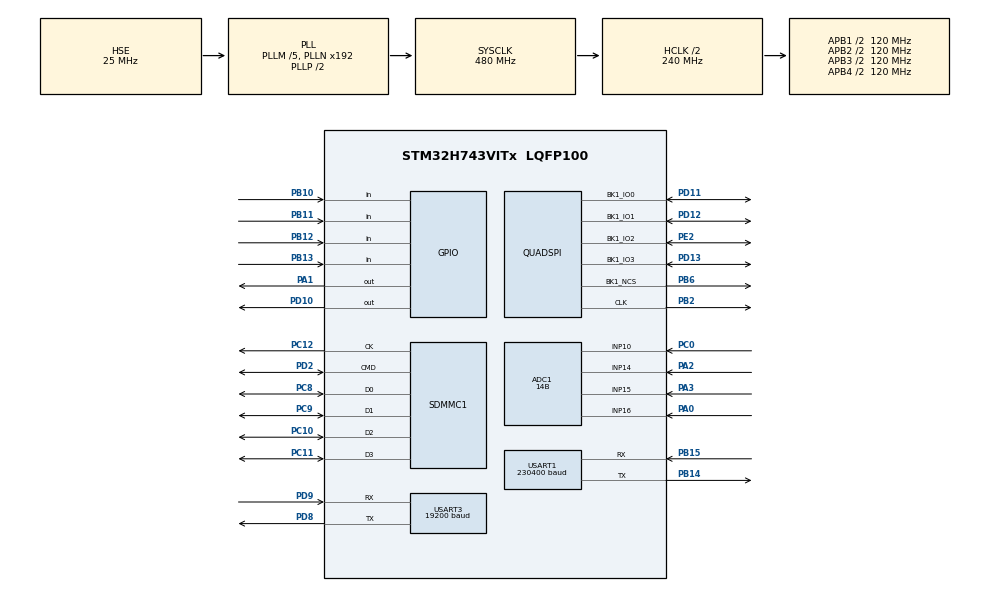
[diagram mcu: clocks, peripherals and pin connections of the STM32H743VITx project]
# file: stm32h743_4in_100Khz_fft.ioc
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ADC1.Channel-0\#ChannelRegularConversion=ADC_CHANNEL_15
ADC1.Channel-1\#ChannelRegularConversion=ADC_CHANNEL_16
ADC1.Channel-2\#ChannelRegularConversion=ADC_CHANNEL_10
ADC1.Channel-3\#ChannelRegularConversion=ADC_CHANNEL_14
ADC1.ClockPrescaler=ADC_CLOCK_ASYNC_DIV6
ADC1.ContinuousConvMode=DISABLE
ADC1.ConversionDataManagement=ADC_CONVERSIONDATA_DMA_CIRCULAR
ADC1.DiscontinuousConvMode=DISABLE
ADC1.EOCSelection=ADC_EOC_SINGLE_CONV
ADC1.ExternalTrigConv=ADC_EXTERNALTRIG_T6_TRGO
ADC1.NbrOfConversion=4
ADC1.NbrOfConversionFlag=1
ADC1.NbrOfDiscConversion=4
ADC1.OffsetNumber-0\#ChannelRegularConversion=ADC_OFFSET_NONE
ADC1.OffsetNumber-1\#ChannelRegularConversion=ADC_OFFSET_NONE
ADC1.OffsetNumber-2\#ChannelRegularConversion=ADC_OFFSET_NONE
ADC1.OffsetNumber-3\#ChannelRegularConversion=ADC_OFFSET_NONE
ADC1.OffsetSignedSaturation-0\#ChannelRegularConversion=DISABLE
ADC1.OffsetSignedSaturation-1\#ChannelRegularConversion=DISABLE
ADC1.OffsetSignedSaturation-2\#ChannelRegularConversion=DISABLE
ADC1.OffsetSignedSaturation-3\#ChannelRegularConversion=DISABLE
ADC1.Overrun=ADC_OVR_DATA_OVERWRITTEN
ADC1.Rank-0\#ChannelRegularConversion=1
ADC1.Rank-1\#ChannelRegularConversion=2
ADC1.Rank-2\#ChannelRegularConversion=3
ADC1.Rank-3\#ChannelRegularConversion=4
ADC1.Resolution=ADC_RESOLUTION_14B
ADC1.SamplingTime-0\#ChannelRegularConversion=ADC_SAMPLETIME_8CYCLES_5
ADC1.SamplingTime-1\#ChannelRegularConversion=ADC_SAMPLETIME_8CYCLES_5
ADC1.SamplingTime-2\#ChannelRegularConversion=ADC_SAMPLETIME_8CYCLES_5
ADC1.SamplingTime-3\#ChannelRegularConversion=ADC_SAMPLETIME_8CYCLES_5
ADC1.master=1
CORTEX_M7.AccessPermission-Cortex_Memory_Protection_Unit_Region0_Settings=MPU_REGION_FULL_ACCESS
CORTEX_M7.AccessPermission-Cortex_Memory_Protection_Unit_Region1_Settings=MPU_REGION_FULL_ACCESS
CORTEX_M7.AccessPermission-Cortex_Memory_Protection_Unit_Region2_Settings=MPU_REGION_FULL_ACCESS
CORTEX_M7.BaseAddress-Cortex_Memory_Protection_Unit_Region0_Settings=0x20000000
CORTEX_M7.BaseAddress-Cortex_Memory_Protection_Unit_Region1_Settings=0x08000000
CORTEX_M7.BaseAddress-Cortex_Memory_Protection_Unit_Region2_Settings=0x60000000
CORTEX_M7.CPU_DCache=Disabled
CORTEX_M7.CPU_ICache=Enabled
CORTEX_M7.Enable-Cortex_Memory_Protection_Unit_Region0_Settings=MPU_REGION_ENABLE
CORTEX_M7.Enable-Cortex_Memory_Protection_Unit_Region1_Settings=MPU_REGION_ENABLE
CORTEX_M7.Enable-Cortex_Memory_Protection_Unit_Region2_Settings=MPU_REGION_ENABLE
CORTEX_M7.Enable-Cortex_Memory_Protection_Unit_Region8_Settings=__NULL
CORTEX_M7.IsCacheable-Cortex_Memory_Protection_Unit_Region0_Settings=MPU_ACCESS_CACHEABLE
CORTEX_M7.IsCacheable-Cortex_Memory_Protection_Unit_Region1_Settings=MPU_ACCESS_CACHEABLE
CORTEX_M7.IsCacheable-Cortex_Memory_Protection_Unit_Region2_Settings=MPU_ACCESS_CACHEABLE
CORTEX_M7.IsShareable-Cortex_Memory_Protection_Unit_Region0_Settings=MPU_ACCESS_SHAREABLE
CORTEX_M7.IsShareable-Cortex_Memory_Protection_Unit_Region2_Settings=MPU_ACCESS_SHAREABLE
CORTEX_M7.MPU_Control=MPU_PRIVILEGED_DEFAULT
CORTEX_M7.Size-Cortex_Memory_Protection_Unit_Region0_Settings=MPU_REGION_SIZE_8KB
CORTEX_M7.Size-Cortex_Memory_Protection_Unit_Region1_Settings=MPU_REGION_SIZE_2MB
CORTEX_M7.Size-Cortex_Memory_Protection_Unit_Region2_Settings=MPU_REGION_SIZE_512MB
Dma.ADC1.0.Direction=DMA_PERIPH_TO_MEMORY
Dma.ADC1.0.EventEnable=DISABLE
Dma.ADC1.0.FIFOMode=DMA_FIFOMODE_DISABLE
Dma.ADC1.0.Instance=DMA1_Stream0
Dma.ADC1.0.MemDataAlignment=DMA_MDATAALIGN_WORD
Dma.ADC1.0.MemInc=DMA_MINC_ENABLE
Dma.ADC1.0.Mode=DMA_CIRCULAR
Dma.ADC1.0.PeriphDataAlignment=DMA_PDATAALIGN_WORD
Dma.ADC1.0.PeriphInc=DMA_PINC_DISABLE
Dma.ADC1.0.Polarity=HAL_DMAMUX_REQ_GEN_RISING
Dma.ADC1.0.Priority=DMA_PRIORITY_LOW
Dma.ADC1.0.RequestNumber=1
Dma.ADC1.0.SignalID=NONE
Dma.ADC1.0.SyncEnable=DISABLE
Dma.ADC1.0.SyncPolarity=HAL_DMAMUX_SYNC_NO_EVENT
Dma.ADC1.0.SyncRequestNumber=1
Dma.ADC1.0.SyncSignalID=NONE
Dma.Request0=ADC1
Mcu.Family=STM32H7
Mcu.Name=STM32H743VITx
Mcu.Package=LQFP100
NVIC.ADC_IRQn=true\:0\:0\:false\:false\:true\:true\:true\:true
NVIC.DMA1_Stream0_IRQn=true\:0\:0\:false\:false\:true\:false\:true\:true
NVIC.PriorityGroup=NVIC_PRIORITYGROUP_4
NVIC.TIM7_IRQn=true\:0\:0\:false\:false\:true\:true\:true\:true
NVIC.USART1_IRQn=true\:0\:0\:false\:false\:true\:true\:true\:true
NVIC.USART3_IRQn=true\:0\:0\:false\:false\:true\:true\:true\:true
PA0.Mode=IN16-Single-Ended
PA0.Signal=ADC1_INP16
PA1.Signal=GPIO_Output
PA2.Signal=ADCx_INP14
PA3.Signal=ADCx_INP15
PB10.Signal=GPIO_Input
PB11.Signal=GPIO_Input
PB12.Signal=GPIO_Input
PB13.Signal=GPIO_Input
PB14.Mode=Asynchronous
PB14.Signal=USART1_TX
PB15.Mode=Asynchronous
PB15.Signal=USART1_RX
PB2.Mode=Single Bank 1
PB2.Signal=QUADSPI_CLK
PB6.Mode=Single Bank 1
PB6.Signal=QUADSPI_BK1_NCS
PC0.Signal=ADCx_INP10
PC10.Mode=SD_4_bits_Wide_bus
PC10.Signal=SDMMC1_D2
PC11.Mode=SD_4_bits_Wide_bus
PC11.Signal=SDMMC1_D3
PC12.Mode=SD_4_bits_Wide_bus
PC12.Signal=SDMMC1_CK
PC14-OSC32_IN\ (OSC32_IN).Mode=LSE-External-Oscillator
PC14-OSC32_IN\ (OSC32_IN).Signal=RCC_OSC32_IN
PC15-OSC32_OUT\ (OSC32_OUT).Mode=LSE-External-Oscillator
PC15-OSC32_OUT\ (OSC32_OUT).Signal=RCC_OSC32_OUT
PC8.Mode=SD_4_bits_Wide_bus
PC8.Signal=SDMMC1_D0
PC9.Mode=SD_4_bits_Wide_bus
PC9.Signal=SDMMC1_D1
PD10.Signal=GPIO_Output
PD11.Mode=Single Bank 1
PD11.Signal=QUADSPI_BK1_IO0
PD12.Mode=Single Bank 1
PD12.Signal=QUADSPI_BK1_IO1
PD13.Mode=Single Bank 1
PD13.Signal=QUADSPI_BK1_IO3
PD2.Mode=SD_4_bits_Wide_bus
PD2.Signal=SDMMC1_CMD
PD8.Mode=Asynchronous
PD8.Signal=USART3_TX
PD9.Mode=Asynchronous
PD9.Signal=USART3_RX
PE2.Mode=Single Bank 1
PE2.Signal=QUADSPI_BK1_IO2
PH0-OSC_IN\ (PH0).Mode=HSE-External-Oscillator
PH0-OSC_IN\ (PH0).Signal=RCC_OSC_IN
PH1-OSC_OUT\ (PH1).Mode=HSE-External-Oscillator
PH1-OSC_OUT\ (PH1).Signal=RCC_OSC_OUT
ProjectManager.HeapSize=0x400
ProjectManager.StackSize=0x800
ProjectManager.TargetToolchain=STM32CubeIDE
QUADSPI.ChipSelectHighTime=QSPI_CS_HIGH_TIME_5_CYCLE
QUADSPI.ClockPrescaler=1
QUADSPI.FifoThreshold=4
QUADSPI.SampleShifting=QSPI_SAMPLE_SHIFTING_HALFCYCLE
RCC.ADCFreq_Value=75000000
RCC.APB1Freq_Value=120000000
RCC.APB2Freq_Value=120000000
RCC.APB3Freq_Value=120000000
RCC.APB4Freq_Value=120000000
RCC.CortexFreq_Value=480000000
RCC.D1PPRE=RCC_APB3_DIV2
RCC.D2PPRE1=RCC_APB1_DIV2
RCC.D2PPRE2=RCC_APB2_DIV2
RCC.D3PPRE=RCC_APB4_DIV2
RCC.DIVM1=5
RCC.DIVM2=2
RCC.DIVN1=192
RCC.DIVN2=12
RCC.DIVQ1=15
RCC.HCLKFreq_Value=240000000
RCC.HPRE=RCC_HCLK_DIV2
RCC.PLL1_VCI_Range=RCC_PLL1VCIRANGE_3
RCC.PLL2FRACN=0
RCC.PLL3FRACN=0
RCC.PLLFRACN=0
RCC.PLLSourceVirtual=RCC_PLLSOURCE_HSE
RCC.SYSCLKFreq_VALUE=480000000
RCC.SYSCLKSource=RCC_SYSCLKSOURCE_PLLCLK
RCC.USBCLockSelection=RCC_USBCLKSOURCE_HSI48
RCC.USBFreq_Value=48000000
SH.ADCx_INP10.0=ADC1_INP10,IN10-Single-Ended
SH.ADCx_INP14.0=ADC1_INP14,IN14-Single-Ended
SH.ADCx_INP15.0=ADC1_INP15,IN15-Single-Ended
TIM6.AutoReloadPreload=TIM_AUTORELOAD_PRELOAD_ENABLE
TIM6.Period=119
TIM6.Prescaler=9
TIM6.TIM_MasterOutputTrigger=TIM_TRGO_UPDATE
TIM7.AutoReloadPreload=TIM_AUTORELOAD_PRELOAD_ENABLE
TIM7.Period=10000
TIM7.Prescaler=2399
USART1.BaudRate=230400
USART1.VirtualMode-Asynchronous=VM_ASYNC
USART3.BaudRate=19200
USART3.VirtualMode-Asynchronous=VM_ASYNC
VP_FATFS_VS_SDIO.Mode=SDIO
VP_TIM6_VS_ClockSourceINT.Mode=Enable_Timer
VP_TIM7_VS_ClockSourceINT.Mode=Enable_Timer
board=custom

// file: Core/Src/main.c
/* USER CODE BEGIN Header */
/**
  ******************************************************************************
  * @file           : main.c
  * @brief          : Main program body
  ******************************************************************************
  * @attention
  *
  * Copyright (c) 2024 STMicroelectronics.
  * All rights reserved.
  *
  * This software is licensed under terms that can be found in the LICENSE file
  * in the root directory of this software component.
  * If no LICENSE file comes with this software, it is provided AS-IS.
  *
  ******************************************************************************
  */
/* USER CODE END Header */
#include "main.h"
#include "fatfs.h"

/* USER CODE BEGIN Includes */
#include "fft.h"
#include "modbus.h"
#include "w25qxx_qspi.h"
/* USER CODE END Includes */

ADC_HandleTypeDef hadc1;
DMA_HandleTypeDef hdma_adc1;

QSPI_HandleTypeDef hqspi;

SD_HandleTypeDef hsd1;

TIM_HandleTypeDef htim6;
TIM_HandleTypeDef htim7;

UART_HandleTypeDef huart1;
UART_HandleTypeDef huart3;

/* USER CODE BEGIN PV */
uint8_t ucAdcSuccess = 0;
uint8_t ucAdcCurrIndex = 0;
uint8_t ucAdcConvIndex = 0;
uint16_t usAdcReadCnt = 0;
#define DMA_BUFFER __attribute__((section(".dma_buffer")))
//#define DMA_DATA_LEN 16
#define DMA_DATA_LEN 8192
DMA_BUFFER uint32_t unAdcBuff[(DMA_DATA_LEN+100)];
//__IO uint32_t unAdcBuff[8];
int16_t usAdcReadBuff1[2][FFT_LENGTH];
int16_t usAdcReadBuff2[2][FFT_LENGTH];
int16_t usAdcReadBuff3[2][FFT_LENGTH];
int16_t usAdcReadBuff4[2][FFT_LENGTH];
uint16_t usAdcFuncFlag = 0;
uint32_t unAdcAddBuff[4]={0,0,0,0};
int32_t unAdcRmsBuff[4]={8192,8192,8192,8192};

extern void FFT_Proc(uint8_t ch,uint16_t *src);
extern volatile float fMagPowerBuff[4][(FFT_LENGTH/2)];
extern uint16_t usDetectBuff[4][5];

extern uint8_t ucUart3RxCnt;
extern uint8_t ucUart3RxBuff[];
extern uint8_t ucUart3TxSucc;
#define UART_SEND_MAX 10240
uint8_t ucUart1TxBuff[UART_SEND_MAX];
uint8_t ucUart1TxQueBuff[UART_SEND_MAX];
uint8_t ucUsbTxBuff[UART_SEND_MAX];
uint16_t usUsbSendCnt = 0;
uint16_t usUart1SendCnt = 0;
uint16_t usUart1SendTail = 0;
uint16_t usUart1SendHead = 0;
uint8_t ucUart1Sending = 0;

uint8_t ucDipSwVal = 0;
uint8_t ucSD_Mount = 0;
uint8_t ucSD_Open = 0;
uint8_t ucSD_FileNum = 0;
uint32_t unFileSaveCnt = 0;
char SD_Path[10];
int16_t ausAdcReadVal[DMA_DATA_LEN];

int16_t ssParaBuff[2048];

/* USER CODE END PV */

void SystemClock_Config(void);
static void MPU_Config(void);
static void MX_GPIO_Init(void);
static void MX_DMA_Init(void);
static void MX_USART1_UART_Init(void);
static void MX_USART3_UART_Init(void);
static void MX_TIM6_Init(void);
static void MX_ADC1_Init(void);
static void MX_TIM7_Init(void);
static void MX_QUADSPI_Init(void);
static void MX_SDMMC1_SD_Init(void);
/* USER CODE BEGIN PFP */
extern uint8_t GPIO_DIP_SW_Input(void);
/* USER CODE END PFP */

/* USER CODE BEGIN 0 */
extern void MODBUS_RX_PROCESS(void);

void Uart1SendQueue(uint8_t * src, uint16_t len)
{
	int i;
	for(i=0;i<len;i++)
	{
		if(usUart1SendCnt < UART_SEND_MAX)
		{
			ucUart1TxQueBuff[usUart1SendHead] = src[i];
			usUart1SendHead++;
			usUart1SendHead %= UART_SEND_MAX;
			usUart1SendCnt++;
		}
		else
		{
			ucUart1TxQueBuff[usUart1SendHead] = src[i];
			usUart1SendHead++;
			usUart1SendHead %= UART_SEND_MAX;
			usUart1SendTail = usUart1SendHead;
		}
	}
}

void Uart1PutQueue(uint8_t data)
{
	if(usUart1SendCnt < UART_SEND_MAX)
	{
		ucUart1TxQueBuff[usUart1SendHead] = data;
		usUart1SendHead++;
		usUart1SendHead %= UART_SEND_MAX;
		usUart1SendCnt++;
	}
	else
	{
		ucUart1TxQueBuff[usUart1SendHead] = data;
		usUart1SendHead++;
		usUart1SendHead %= UART_SEND_MAX;
		usUart1SendTail = usUart1SendHead;
	}
}

int Uart1GetQueue()
{
	uint8_t ch;
	if(usUart1SendCnt > 0)
	{
		ch = ucUart1TxQueBuff[usUart1SendTail];
		usUart1SendTail++;
		usUart1SendTail %= UART_SEND_MAX;
		usUart1SendCnt--;
		return (int)ch;
	}
	else
	{
		usUart1SendTail = 0;
		usUart1SendHead = 0;
		return -1;
	}
}

int Uart1ReadQueue(uint8_t *dst)
{
	uint8_t ch;
	int i, res;
	res = 0;
	while(usUart1SendCnt > 0)
	{
		dst[res++] = ucUart1TxQueBuff[usUart1SendTail];
		usUart1SendTail++;
		usUart1SendTail %= UART_SEND_MAX;
		usUart1SendCnt--;
	}
	usUart1SendTail = 0;
	usUart1SendHead = 0;
	return res;
}

/* USER CODE END 0 */

int main(void)
{
  /* USER CODE BEGIN 1 */
	int nPowerVal = 0;
	int nSendCnt = 0;
	int nsend_len=0;
	int i,j;
	uint16_t us_res;
	int ret;
	FIL MyFile;
	uint32_t byteswritten;
  /* USER CODE END 1 */

  /* MPU Configuration--------------------------------------------------------*/
  MPU_Config();
/* Enable the CPU Cache */

  /* Enable I-Cache---------------------------------------------------------*/
  SCB_EnableICache();

  /* MCU Configuration--------------------------------------------------------*/

  /* Reset of all peripherals, Initializes the Flash interface and the Systick. */
  HAL_Init();

  /* Configure the system clock */
  SystemClock_Config();

  /* Initialize all configured peripherals */
  MX_GPIO_Init();
  MX_DMA_Init();
  MX_USART1_UART_Init();
  MX_USART3_UART_Init();
  MX_TIM6_Init();
  MX_ADC1_Init();
  MX_TIM7_Init();
  MX_QUADSPI_Init();
  MX_SDMMC1_SD_Init();
  MX_FATFS_Init();
  /* USER CODE BEGIN 2 */
  BSP_SD_Init();
//  HAL_TIM_Base_Start(&htim6);
  // calibrate ADC for better accuracy and start it w/ interrupt
    if(HAL_ADCEx_Calibration_Start(&hadc1, ADC_CALIB_OFFSET, ADC_SINGLE_ENDED) != HAL_OK)
                  Error_Handler();

//    if(HAL_ADC_Start_IT(&hadc1) != HAL_OK)
//                  Error_Handler();
    HAL_ADC_Start_DMA(&hadc1, (uint32_t*)unAdcBuff, DMA_DATA_LEN);
//    HAL_ADC_Start_DMA(&hadc1, (uint32_t*)unAdcBuff, 16);
    // start pwm generation
    if(HAL_TIM_Base_Start(&htim6) != HAL_OK)   Error_Handler();

    HAL_TIM_Base_Start(&htim7);
/*
    w25qxx_Init();
    w25qxx_GetID();
    W25qxx_Read((uint8_t*)ssParaBuff,0,100);
   	if((ssParaBuff[0]!=0x55AA) || (ssParaBuff[49]!=0x55AA))
   	{
   		ucUart1TxBuff[0] = 'C';
   		ucUart1TxBuff[1] = 'W';
   		us_res = (ssParaBuff[0]&0xF000)>>12;
   		ucUart1TxBuff[2] = (us_res>9)?us_res-10+'A':us_res+'0';
   		us_res = (ssParaBuff[0]&0x0F00)>>8;
   		ucUart1TxBuff[3] = (us_res>9)?us_res-10+'A':us_res+'0';
   		us_res = (ssParaBuff[0]&0x00F0)>>4;
   		ucUart1TxBuff[4] = (us_res>9)?us_res-10+'A':us_res+'0';
   		us_res = (ssParaBuff[0]&0x000F)>>0;
   		ucUart1TxBuff[5] = (us_res>9)?us_res-10+'A':us_res+'0';
   		us_res = (ssParaBuff[49]&0xF000)>>12;
   		ucUart1TxBuff[6] = (us_res>9)?us_res-10+'A':us_res+'0';
   		us_res = (ssParaBuff[49]&0x0F00)>>8;
   		ucUart1TxBuff[7] = (us_res>9)?us_res-10+'A':us_res+'0';
   		us_res = (ssParaBuff[49]&0x00F0)>>4;
   		ucUart1TxBuff[8] = (us_res>9)?us_res-10+'A':us_res+'0';
   		us_res = (ssParaBuff[49]&0x000F)>>0;
   		ucUart1TxBuff[9] = (us_res>9)?us_res-10+'A':us_res+'0';

   		HAL_UART_Transmit_IT(&huart1, &ucUart1TxBuff[0], 10);
   		W25qxx_EraseSector(0);
//		W25qxx_EraseChip(); // approx 13 second to execute
		ssParaBuff[0] = 0x55AA;
		ssParaBuff[1] = 10000;
		ssParaBuff[2] = 5000;
		ssParaBuff[3] = 3000;
		ssParaBuff[4] = 2000;
		ssParaBuff[5] = 10000;
		ssParaBuff[6] = 5000;
		ssParaBuff[7] = 3000;
		ssParaBuff[8] = 2000;
		ssParaBuff[9] = 10000;
		ssParaBuff[10] = 5000;
		ssParaBuff[11] = 3000;
		ssParaBuff[12] = 2000;
		ssParaBuff[13] = 10000;
		ssParaBuff[14] = 5000;
		ssParaBuff[15] = 3000;
		ssParaBuff[16] = 2000;
		ssParaBuff[49] = 0x55AA;
		W25qxx_Write((uint8_t*)ssParaBuff, 0, 100);
   	}
*/

    /* Enable D-Cache---------------------------------------------------------*/
 //   SCB_EnableICache();
    SCB_EnableDCache();

  /* USER CODE END 2 */

  /* Infinite loop */
  /* USER CODE BEGIN WHILE */
  ucUart3RxCnt = 0;
  RS485_RD_MODE;
  HAL_UART_Receive_IT(&huart3, &ucUart3RxBuff[ucUart3RxCnt], 1);
  FFT_Buff_Init();
  HAL_GPIO_WritePin(GPIOA,GPIO_PIN_1,GPIO_PIN_SET);
  while (1)
  {
	  ucDipSwVal = GPIO_DIP_SW_Input();

	  FFT_Timer_Proc();
//	  if(ucAdcSuccess)
	  if(usAdcFuncFlag)
	  {
		  if(((ucDipSwVal & 0x08) != 0) || (ucSD_Mount == 0))  ret = f_mount(&SDFatFS, "0:", 0);

		  if(ret == 0)ucSD_Mount = 1;

		  if(((ucDipSwVal & 0x08) == 0) || (ucSD_Mount != 0))
		  {
			  if(ucSD_Open) f_close(&MyFile);
			  ret = f_mount(0, "0:", 0);
			  ucSD_Open = 0;
			  HAL_GPIO_WritePin(GPIOA,GPIO_PIN_1,GPIO_PIN_SET);
		  }

		  if(((ucDipSwVal & 0x08) == 0) || (ucSD_Mount == 0))
		  {
	//		  ucAdcSuccess = 0;
	 //		  SCB_EnableDCache();
			  if((usAdcFuncFlag & 0x0003) != 0)
			  {
				  usAdcFuncFlag &= 0x00FC;
				  FFT_Proc(0,&usAdcReadBuff1[ucAdcConvIndex][0]);
			  }
			  else if((usAdcFuncFlag & 0x000C) != 0)
			  {
				  usAdcFuncFlag &= 0x00F3;
	//			  FFT_Proc(1,&usAdcReadBuff2[ucAdcConvIndex][0]);
			  }
			  else if((usAdcFuncFlag & 0x0030) != 0)
			  {
				  usAdcFuncFlag &= 0x00CF;
	//			  FFT_Proc(2,&usAdcReadBuff3[ucAdcConvIndex][0]);
			  }
			  else if((usAdcFuncFlag & 0x00C0) != 0)
			  {
				  usAdcFuncFlag &= 0x003F;
	//				FFT_Proc(3,&usAdcReadBuff4[ucAdcConvIndex][0]);
			  }
	//		  SCB_DisableDCache();
		  }
		  else
		  {
			  usAdcFuncFlag = 0;
			  ucAdcSuccess = 0;
			  if(ucSD_Open == 0)
			  {
				  ucSD_FileNum = ucDipSwVal & 0x07;
				  sprintf(SD_Path, "F%d.bin",ucSD_FileNum);
				  ret = f_open(&MyFile,SD_Path,FA_CREATE_ALWAYS | FA_WRITE);
				  if(ret == 0)
				  {
					  ucSD_Open = 1;
					  HAL_GPIO_WritePin(GPIOA,GPIO_PIN_1,GPIO_PIN_RESET);
				  }
				  unFileSaveCnt = 0;
			  }
			  else
			  {
				  if(unFileSaveCnt < 10000)
				  {
					  ret = f_write(&MyFile,(uint8_t *)&ausAdcReadVal[0],DMA_DATA_LEN*2,(void*)&byteswritten);
					  unFileSaveCnt++;
					  HAL_GPIO_WritePin(GPIOA,GPIO_PIN_1,GPIO_PIN_RESET);
					  if(unFileSaveCnt == 10000)
					  {
						  f_close(&MyFile);
						  HAL_GPIO_WritePin(GPIOA,GPIO_PIN_1,GPIO_PIN_SET);
					  }
				  }
			  }
		  }
#if 0
		  nSendCnt = 0;
		  ucUsbTxBuff[nSendCnt++] = 0x55;
		  ucUsbTxBuff[nSendCnt++] = ':';

//		  for(i=0;i<usMagPowerPeakDetectCnt[0];i++)
		  for(i=0;i<1024;i++)
		  {
//			  nPowerVal = (int) fMagPowerBuff[0][i]/100;
			  nPowerVal = usAdcReadBuff1[ucAdcConvIndex][i];
//			  nPowerVal = (int)usMagPowerPeakDetectBuff[0][i]*10;
			  nPowerVal %= 10000;
			  ucUsbTxBuff[nSendCnt++] = (nPowerVal/1000) + '0';
			  nPowerVal %= 1000;
			  ucUsbTxBuff[nSendCnt++] = (nPowerVal/100) + '0';
			  nPowerVal %= 100;
			  ucUsbTxBuff[nSendCnt++] = (nPowerVal/10) + '0';
			  ucUsbTxBuff[nSendCnt++] = (nPowerVal%10) + '0';
			  ucUsbTxBuff[nSendCnt++] = ',';

//			  ucUsbTxBuff[nSendCnt++] = (nPowerVal>>16) & 0xFF;
//			  ucUsbTxBuff[nSendCnt++] = (nPowerVal>>8) & 0xFF;
//			  ucUsbTxBuff[nSendCnt++] = (nPowerVal>>0) & 0xFF;
		  }
		  ucUsbTxBuff[nSendCnt++] = 0x0d;
		  ucUsbTxBuff[nSendCnt++] = 0x0a;
//		  ucUsbTxBuff[nSendCnt++] = 0x00;
		  Uart1SendQueue(&ucUsbTxBuff[0],nSendCnt);
#endif
	  }
	  MODBUS_RX_PROCESS();

		if ((usUart1SendCnt>0) && (ucUart1Sending==0))
	  {
		  nsend_len = Uart1ReadQueue(&ucUart1TxBuff[0]);
		  HAL_UART_Transmit_IT(&huart1, &ucUart1TxBuff[0], nsend_len);
		  ucUart1Sending = 1;
	  }
    /* USER CODE END WHILE */

  }
}

void SystemClock_Config(void)
{
  RCC_OscInitTypeDef RCC_OscInitStruct = {0};
  RCC_ClkInitTypeDef RCC_ClkInitStruct = {0};

  /** Supply configuration update enable
  */
  HAL_PWREx_ConfigSupply(PWR_LDO_SUPPLY);

  /** Configure the main internal regulator output voltage
  */
  __HAL_PWR_VOLTAGESCALING_CONFIG(PWR_REGULATOR_VOLTAGE_SCALE1);

  while(!__HAL_PWR_GET_FLAG(PWR_FLAG_VOSRDY)) {}

  __HAL_RCC_SYSCFG_CLK_ENABLE();
  __HAL_PWR_VOLTAGESCALING_CONFIG(PWR_REGULATOR_VOLTAGE_SCALE0);

  while(!__HAL_PWR_GET_FLAG(PWR_FLAG_VOSRDY)) {}

  /** Initializes the RCC Oscillators according to the specified parameters
  * in the RCC_OscInitTypeDef structure.
  */
  RCC_OscInitStruct.OscillatorType = RCC_OSCILLATORTYPE_HSE;
  RCC_OscInitStruct.HSEState = RCC_HSE_ON;
  RCC_OscInitStruct.PLL.PLLState = RCC_PLL_ON;
  RCC_OscInitStruct.PLL.PLLSource = RCC_PLLSOURCE_HSE;
  RCC_OscInitStruct.PLL.PLLM = 5;
  RCC_OscInitStruct.PLL.PLLN = 192;
  RCC_OscInitStruct.PLL.PLLP = 2;
  RCC_OscInitStruct.PLL.PLLQ = 15;
  RCC_OscInitStruct.PLL.PLLR = 2;
  RCC_OscInitStruct.PLL.PLLRGE = RCC_PLL1VCIRANGE_3;
  RCC_OscInitStruct.PLL.PLLVCOSEL = RCC_PLL1VCOWIDE;
  RCC_OscInitStruct.PLL.PLLFRACN = 0;
  if (HAL_RCC_OscConfig(&RCC_OscInitStruct) != HAL_OK)
  {
    Error_Handler();
  }

  /** Initializes the CPU, AHB and APB buses clocks
  */
  RCC_ClkInitStruct.ClockType = RCC_CLOCKTYPE_HCLK|RCC_CLOCKTYPE_SYSCLK
                              |RCC_CLOCKTYPE_PCLK1|RCC_CLOCKTYPE_PCLK2
                              |RCC_CLOCKTYPE_D3PCLK1|RCC_CLOCKTYPE_D1PCLK1;
  RCC_ClkInitStruct.SYSCLKSource = RCC_SYSCLKSOURCE_PLLCLK;
  RCC_ClkInitStruct.SYSCLKDivider = RCC_SYSCLK_DIV1;
  RCC_ClkInitStruct.AHBCLKDivider = RCC_HCLK_DIV2;
  RCC_ClkInitStruct.APB3CLKDivider = RCC_APB3_DIV2;
  RCC_ClkInitStruct.APB1CLKDivider = RCC_APB1_DIV2;
  RCC_ClkInitStruct.APB2CLKDivider = RCC_APB2_DIV2;
  RCC_ClkInitStruct.APB4CLKDivider = RCC_APB4_DIV2;

  if (HAL_RCC_ClockConfig(&RCC_ClkInitStruct, FLASH_LATENCY_4) != HAL_OK)
  {
    Error_Handler();
  }
}

static void MX_ADC1_Init(void)
{

  ADC_MultiModeTypeDef multimode = {0};
  ADC_ChannelConfTypeDef sConfig = {0};

  /** Common config
  */
  hadc1.Instance = ADC1;
  hadc1.Init.ClockPrescaler = ADC_CLOCK_ASYNC_DIV6;
  hadc1.Init.Resolution = ADC_RESOLUTION_14B;
  hadc1.Init.ScanConvMode = ADC_SCAN_ENABLE;
  hadc1.Init.EOCSelection = ADC_EOC_SINGLE_CONV;
  hadc1.Init.LowPowerAutoWait = DISABLE;
  hadc1.Init.ContinuousConvMode = DISABLE;
  hadc1.Init.NbrOfConversion = 4;
  hadc1.Init.DiscontinuousConvMode = DISABLE;
  hadc1.Init.NbrOfDiscConversion = 4;
  hadc1.Init.ExternalTrigConv = ADC_EXTERNALTRIG_T6_TRGO;
  hadc1.Init.ExternalTrigConvEdge = ADC_EXTERNALTRIGCONVEDGE_RISING;
  hadc1.Init.ConversionDataManagement = ADC_CONVERSIONDATA_DMA_CIRCULAR;
  hadc1.Init.Overrun = ADC_OVR_DATA_OVERWRITTEN;
  hadc1.Init.LeftBitShift = ADC_LEFTBITSHIFT_NONE;
  hadc1.Init.OversamplingMode = DISABLE;
  if (HAL_ADC_Init(&hadc1) != HAL_OK)
  {
    Error_Handler();
  }

  /** Configure the ADC multi-mode
  */
  multimode.Mode = ADC_MODE_INDEPENDENT;
  if (HAL_ADCEx_MultiModeConfigChannel(&hadc1, &multimode) != HAL_OK)
  {
    Error_Handler();
  }

  /** Configure Regular Channel
  */
  sConfig.Channel = ADC_CHANNEL_15;
  sConfig.Rank = ADC_REGULAR_RANK_1;
  sConfig.SamplingTime = ADC_SAMPLETIME_8CYCLES_5;
  sConfig.SingleDiff = ADC_SINGLE_ENDED;
  sConfig.OffsetNumber = ADC_OFFSET_NONE;
  sConfig.Offset = 0;
  sConfig.OffsetSignedSaturation = DISABLE;
  if (HAL_ADC_ConfigChannel(&hadc1, &sConfig) != HAL_OK)
  {
    Error_Handler();
  }

  /** Configure Regular Channel
  */
  sConfig.Channel = ADC_CHANNEL_16;
  sConfig.Rank = ADC_REGULAR_RANK_2;
  if (HAL_ADC_ConfigChannel(&hadc1, &sConfig) != HAL_OK)
  {
    Error_Handler();
  }

  /** Configure Regular Channel
  */
  sConfig.Channel = ADC_CHANNEL_10;
  sConfig.Rank = ADC_REGULAR_RANK_3;
  if (HAL_ADC_ConfigChannel(&hadc1, &sConfig) != HAL_OK)
  {
    Error_Handler();
  }

  /** Configure Regular Channel
  */
  sConfig.Channel = ADC_CHANNEL_14;
  sConfig.Rank = ADC_REGULAR_RANK_4;
  if (HAL_ADC_ConfigChannel(&hadc1, &sConfig) != HAL_OK)
  {
    Error_Handler();
  }

}

static void MX_QUADSPI_Init(void)
{

  /* QUADSPI parameter configuration*/
  hqspi.Instance = QUADSPI;
  hqspi.Init.ClockPrescaler = 1;
  hqspi.Init.FifoThreshold = 4;
  hqspi.Init.SampleShifting = QSPI_SAMPLE_SHIFTING_HALFCYCLE;
  hqspi.Init.FlashSize = 1;
  hqspi.Init.ChipSelectHighTime = QSPI_CS_HIGH_TIME_5_CYCLE;
  hqspi.Init.ClockMode = QSPI_CLOCK_MODE_0;
  hqspi.Init.FlashID = QSPI_FLASH_ID_1;
  hqspi.Init.DualFlash = QSPI_DUALFLASH_DISABLE;
  if (HAL_QSPI_Init(&hqspi) != HAL_OK)
  {
    Error_Handler();
  }

}

static void MX_SDMMC1_SD_Init(void)
{

  hsd1.Instance = SDMMC1;
  hsd1.Init.ClockEdge = SDMMC_CLOCK_EDGE_RISING;
  hsd1.Init.ClockPowerSave = SDMMC_CLOCK_POWER_SAVE_DISABLE;
  hsd1.Init.BusWide = SDMMC_BUS_WIDE_4B;
  hsd1.Init.HardwareFlowControl = SDMMC_HARDWARE_FLOW_CONTROL_DISABLE;
  hsd1.Init.ClockDiv = 0;

}

static void MX_TIM6_Init(void)
{

  TIM_MasterConfigTypeDef sMasterConfig = {0};

  htim6.Instance = TIM6;
  htim6.Init.Prescaler = 9;
  htim6.Init.CounterMode = TIM_COUNTERMODE_UP;
  htim6.Init.Period = 119;
  htim6.Init.AutoReloadPreload = TIM_AUTORELOAD_PRELOAD_ENABLE;
  if (HAL_TIM_Base_Init(&htim6) != HAL_OK)
  {
    Error_Handler();
  }
  sMasterConfig.MasterOutputTrigger = TIM_TRGO_UPDATE;
  sMasterConfig.MasterSlaveMode = TIM_MASTERSLAVEMODE_DISABLE;
  if (HAL_TIMEx_MasterConfigSynchronization(&htim6, &sMasterConfig) != HAL_OK)
  {
    Error_Handler();
  }

}

static void MX_TIM7_Init(void)
{

  TIM_MasterConfigTypeDef sMasterConfig = {0};

  htim7.Instance = TIM7;
  htim7.Init.Prescaler = 2399;
  htim7.Init.CounterMode = TIM_COUNTERMODE_UP;
  htim7.Init.Period = 10000;
  htim7.Init.AutoReloadPreload = TIM_AUTORELOAD_PRELOAD_ENABLE;
  if (HAL_TIM_Base_Init(&htim7) != HAL_OK)
  {
    Error_Handler();
  }
  sMasterConfig.MasterOutputTrigger = TIM_TRGO_RESET;
  sMasterConfig.MasterSlaveMode = TIM_MASTERSLAVEMODE_DISABLE;
  if (HAL_TIMEx_MasterConfigSynchronization(&htim7, &sMasterConfig) != HAL_OK)
  {
    Error_Handler();
  }

}

static void MX_USART1_UART_Init(void)
{

  huart1.Instance = USART1;
  huart1.Init.BaudRate = 230400;
  huart1.Init.WordLength = UART_WORDLENGTH_8B;
  huart1.Init.StopBits = UART_STOPBITS_1;
  huart1.Init.Parity = UART_PARITY_NONE;
  huart1.Init.Mode = UART_MODE_TX_RX;
  huart1.Init.HwFlowCtl = UART_HWCONTROL_NONE;
  huart1.Init.OverSampling = UART_OVERSAMPLING_16;
  huart1.Init.OneBitSampling = UART_ONE_BIT_SAMPLE_DISABLE;
  huart1.Init.ClockPrescaler = UART_PRESCALER_DIV1;
  huart1.AdvancedInit.AdvFeatureInit = UART_ADVFEATURE_NO_INIT;
  if (HAL_UART_Init(&huart1) != HAL_OK)
  {
    Error_Handler();
  }
  if (HAL_UARTEx_SetTxFifoThreshold(&huart1, UART_TXFIFO_THRESHOLD_1_8) != HAL_OK)
  {
    Error_Handler();
  }
  if (HAL_UARTEx_SetRxFifoThreshold(&huart1, UART_RXFIFO_THRESHOLD_1_8) != HAL_OK)
  {
    Error_Handler();
  }
  if (HAL_UARTEx_DisableFifoMode(&huart1) != HAL_OK)
  {
    Error_Handler();
  }

}

static void MX_USART3_UART_Init(void)
{

  huart3.Instance = USART3;
  huart3.Init.BaudRate = 19200;
  huart3.Init.WordLength = UART_WORDLENGTH_8B;
  huart3.Init.StopBits = UART_STOPBITS_1;
  huart3.Init.Parity = UART_PARITY_NONE;
  huart3.Init.Mode = UART_MODE_TX_RX;
  huart3.Init.HwFlowCtl = UART_HWCONTROL_NONE;
  huart3.Init.OverSampling = UART_OVERSAMPLING_16;
  huart3.Init.OneBitSampling = UART_ONE_BIT_SAMPLE_DISABLE;
  huart3.Init.ClockPrescaler = UART_PRESCALER_DIV1;
  huart3.AdvancedInit.AdvFeatureInit = UART_ADVFEATURE_NO_INIT;
  if (HAL_UART_Init(&huart3) != HAL_OK)
  {
    Error_Handler();
  }
  if (HAL_UARTEx_SetTxFifoThreshold(&huart3, UART_TXFIFO_THRESHOLD_1_8) != HAL_OK)
  {
    Error_Handler();
  }
  if (HAL_UARTEx_SetRxFifoThreshold(&huart3, UART_RXFIFO_THRESHOLD_1_8) != HAL_OK)
  {
    Error_Handler();
  }
  if (HAL_UARTEx_DisableFifoMode(&huart3) != HAL_OK)
  {
    Error_Handler();
  }

}

static void MX_DMA_Init(void)
{

  /* DMA controller clock enable */
  __HAL_RCC_DMA1_CLK_ENABLE();

  /* DMA interrupt init */
  /* DMA1_Stream0_IRQn interrupt configuration */
  HAL_NVIC_SetPriority(DMA1_Stream0_IRQn, 0, 0);
  HAL_NVIC_EnableIRQ(DMA1_Stream0_IRQn);

}

static void MX_GPIO_Init(void)
{
  GPIO_InitTypeDef GPIO_InitStruct = {0};

  /* GPIO Ports Clock Enable */
  __HAL_RCC_GPIOE_CLK_ENABLE();
  __HAL_RCC_GPIOC_CLK_ENABLE();
  __HAL_RCC_GPIOH_CLK_ENABLE();
  __HAL_RCC_GPIOA_CLK_ENABLE();
  __HAL_RCC_GPIOB_CLK_ENABLE();
  __HAL_RCC_GPIOD_CLK_ENABLE();

  /*Configure GPIO pin Output Level */
  HAL_GPIO_WritePin(GPIOA, GPIO_PIN_1, GPIO_PIN_RESET);

  /*Configure GPIO pin Output Level */
  HAL_GPIO_WritePin(GPIOD, GPIO_PIN_10, GPIO_PIN_RESET);

  /*Configure GPIO pin : PA1 */
  GPIO_InitStruct.Pin = GPIO_PIN_1;
  GPIO_InitStruct.Mode = GPIO_MODE_OUTPUT_PP;
  GPIO_InitStruct.Pull = GPIO_NOPULL;
  GPIO_InitStruct.Speed = GPIO_SPEED_FREQ_LOW;
  HAL_GPIO_Init(GPIOA, &GPIO_InitStruct);

  /*Configure GPIO pins : PB10 PB11 PB12 PB13 */
  GPIO_InitStruct.Pin = GPIO_PIN_10|GPIO_PIN_11|GPIO_PIN_12|GPIO_PIN_13;
  GPIO_InitStruct.Mode = GPIO_MODE_INPUT;
  GPIO_InitStruct.Pull = GPIO_NOPULL;
  HAL_GPIO_Init(GPIOB, &GPIO_InitStruct);

  /*Configure GPIO pin : PD10 */
  GPIO_InitStruct.Pin = GPIO_PIN_10;
  GPIO_InitStruct.Mode = GPIO_MODE_OUTPUT_PP;
  GPIO_InitStruct.Pull = GPIO_NOPULL;
  GPIO_InitStruct.Speed = GPIO_SPEED_FREQ_LOW;
  HAL_GPIO_Init(GPIOD, &GPIO_InitStruct);

}

/* USER CODE BEGIN 4 */
int32_t nAdcReadIndex = 0;
void HAL_ADC_ConvCpltCallback(ADC_HandleTypeDef* hadc)
{
	int i,j;
//	if(hadc == ADC1)
	if(ucAdcSuccess == 0)
//	if((ucAdcSuccess == 0) && (ucUart1Sending == 0))
	{
//		unAdcBuff[0] = HAL_ADC_GetValue(&hadc1);
#if 1
		SCB_InvalidateDCache_by_Addr((uint32_t *) &unAdcBuff[0], DMA_DATA_LEN);
		usAdcReadCnt=0;
		j=0;
		if(ucSD_Open)
		{
			for(i=0;i<(DMA_DATA_LEN);i++) ausAdcReadVal[i] = (int16_t)unAdcBuff[i];
		}
		else
		{
			for(i=0;i<(DMA_DATA_LEN/4);i++)
			{
				usAdcReadBuff1[ucAdcCurrIndex][usAdcReadCnt] = (int16_t)((int)unAdcBuff[j++]);
				usAdcReadBuff2[ucAdcCurrIndex][usAdcReadCnt] = (int16_t)((int)unAdcBuff[j++]);
				usAdcReadBuff3[ucAdcCurrIndex][usAdcReadCnt] = (int16_t)((int)unAdcBuff[j++]);
				usAdcReadBuff4[ucAdcCurrIndex][usAdcReadCnt] = (int16_t)((int)unAdcBuff[j++]);
				usAdcReadCnt++;
			}
		}
		ucAdcSuccess = 1;
		usAdcFuncFlag = 0x00FF;
		ucAdcConvIndex = ucAdcCurrIndex;
		if(ucAdcCurrIndex==0)ucAdcCurrIndex=1;
		else ucAdcCurrIndex = 0;
#else
		if(usAdcReadCnt < FFT_LENGTH)
		{
			SCB_InvalidateDCache_by_Addr((uint32_t *) &unAdcBuff[0], 16);
			if(nAdcReadIndex == 0)
			{
				usAdcReadBuff1[ucAdcCurrIndex][usAdcReadCnt] = (int16_t)((int)unAdcBuff[0]);
				usAdcReadBuff2[ucAdcCurrIndex][usAdcReadCnt] = (int16_t)((int)unAdcBuff[1]);
				usAdcReadBuff3[ucAdcCurrIndex][usAdcReadCnt] = (int16_t)((int)unAdcBuff[2]);
				usAdcReadBuff4[ucAdcCurrIndex][usAdcReadCnt] = (int16_t)((int)unAdcBuff[3]);
				usAdcReadCnt++;
				usAdcReadBuff1[ucAdcCurrIndex][usAdcReadCnt] = (int16_t)((int)unAdcBuff[4]);
				usAdcReadBuff2[ucAdcCurrIndex][usAdcReadCnt] = (int16_t)((int)unAdcBuff[5]);
				usAdcReadBuff3[ucAdcCurrIndex][usAdcReadCnt] = (int16_t)((int)unAdcBuff[6]);
				usAdcReadBuff4[ucAdcCurrIndex][usAdcReadCnt] = (int16_t)((int)unAdcBuff[7]);
				usAdcReadCnt++;
				usAdcReadBuff1[ucAdcCurrIndex][usAdcReadCnt] = (int16_t)((int)unAdcBuff[8]);
				usAdcReadBuff2[ucAdcCurrIndex][usAdcReadCnt] = (int16_t)((int)unAdcBuff[9]);
				usAdcReadBuff3[ucAdcCurrIndex][usAdcReadCnt] = (int16_t)((int)unAdcBuff[10]);
				usAdcReadBuff4[ucAdcCurrIndex][usAdcReadCnt] = (int16_t)((int)unAdcBuff[11]);
				usAdcReadCnt++;
				usAdcReadBuff1[ucAdcCurrIndex][usAdcReadCnt] = (int16_t)((int)unAdcBuff[12]);
				usAdcReadBuff2[ucAdcCurrIndex][usAdcReadCnt] = (int16_t)((int)unAdcBuff[13]);
				usAdcReadBuff3[ucAdcCurrIndex][usAdcReadCnt] = (int16_t)((int)unAdcBuff[14]);
				usAdcReadBuff4[ucAdcCurrIndex][usAdcReadCnt] = (int16_t)((int)unAdcBuff[15]);
				usAdcReadCnt++;
			}
			else
			{
				usAdcReadBuff1[ucAdcCurrIndex][usAdcReadCnt] += (int16_t)((int)unAdcBuff[0]);
				usAdcReadBuff2[ucAdcCurrIndex][usAdcReadCnt] += (int16_t)((int)unAdcBuff[1]);
				usAdcReadBuff3[ucAdcCurrIndex][usAdcReadCnt] += (int16_t)((int)unAdcBuff[2]);
				usAdcReadBuff4[ucAdcCurrIndex][usAdcReadCnt] += (int16_t)((int)unAdcBuff[3]);
				usAdcReadCnt++;
				usAdcReadBuff1[ucAdcCurrIndex][usAdcReadCnt] += (int16_t)((int)unAdcBuff[4]);
				usAdcReadBuff2[ucAdcCurrIndex][usAdcReadCnt] += (int16_t)((int)unAdcBuff[5]);
				usAdcReadBuff3[ucAdcCurrIndex][usAdcReadCnt] += (int16_t)((int)unAdcBuff[6]);
				usAdcReadBuff4[ucAdcCurrIndex][usAdcReadCnt] += (int16_t)((int)unAdcBuff[7]);
				usAdcReadCnt++;
				usAdcReadBuff1[ucAdcCurrIndex][usAdcReadCnt] += (int16_t)((int)unAdcBuff[8]);
				usAdcReadBuff2[ucAdcCurrIndex][usAdcReadCnt] += (int16_t)((int)unAdcBuff[9]);
				usAdcReadBuff3[ucAdcCurrIndex][usAdcReadCnt] += (int16_t)((int)unAdcBuff[10]);
				usAdcReadBuff4[ucAdcCurrIndex][usAdcReadCnt] += (int16_t)((int)unAdcBuff[11]);
				usAdcReadCnt++;
				usAdcReadBuff1[ucAdcCurrIndex][usAdcReadCnt] += (int16_t)((int)unAdcBuff[12]);
				usAdcReadBuff2[ucAdcCurrIndex][usAdcReadCnt] += (int16_t)((int)unAdcBuff[13]);
				usAdcReadBuff3[ucAdcCurrIndex][usAdcReadCnt] += (int16_t)((int)unAdcBuff[14]);
				usAdcReadBuff4[ucAdcCurrIndex][usAdcReadCnt] += (int16_t)((int)unAdcBuff[15]);
				usAdcReadCnt++;
			}
		}

		if (usAdcReadCnt >= FFT_LENGTH)
		{
			nAdcReadIndex++;
			usAdcReadCnt = 0;
			if(nAdcReadIndex >= 4)
			{
				nAdcReadIndex = 0;
				ucAdcSuccess = 1;
				usAdcFuncFlag = 0x00FF;
				ucAdcConvIndex = ucAdcCurrIndex;
				if(ucAdcCurrIndex==0)ucAdcCurrIndex=1;
				else ucAdcCurrIndex = 0;
			}
		}
#endif
	}
}

void HAL_UART_RxCpltCallback(UART_HandleTypeDef *huart)
{
    if(huart->Instance == USART3)
    {
    	usUart3RxIdleMs = 4;
        if(ucUart3RxCnt<UART_RX_BUF_MAX)
        {
        	ucUart3RxCnt++;
            HAL_UART_Receive_IT(&huart3, &ucUart3RxBuff[ucUart3RxCnt], 1);
        }
    }

}

void HAL_UART_TxCpltCallback(UART_HandleTypeDef *huart)
{
	if(huart->Instance == USART1)
	{
		ucUart1Sending = 0;
		ucAdcSuccess = 0;
	}
	else if(huart->Instance == USART3)
	{
		ucUart3TxSucc = 1;
		usUart3TxIdleMs = 4;
		RS485_RD_MODE;
	}
}

void HAL_SYSTICK_Callback()
{

}

void HAL_TIM_PeriodElapsedCallback(TIM_HandleTypeDef *htim)
{
	if(htim == TIM7)
	{

	}
}
/* USER CODE END 4 */

/* MPU Configuration */

void MPU_Config(void)
{
  MPU_Region_InitTypeDef MPU_InitStruct = {0};

  /* Disables the MPU */
  HAL_MPU_Disable();

  /** Initializes and configures the Region and the memory to be protected
  */
  MPU_InitStruct.Enable = MPU_REGION_ENABLE;
  MPU_InitStruct.Number = MPU_REGION_NUMBER0;
  MPU_InitStruct.BaseAddress = 0x20000000;
  MPU_InitStruct.Size = MPU_REGION_SIZE_8KB;
  MPU_InitStruct.SubRegionDisable = 0x0;
  MPU_InitStruct.TypeExtField = MPU_TEX_LEVEL0;
  MPU_InitStruct.AccessPermission = MPU_REGION_FULL_ACCESS;
  MPU_InitStruct.DisableExec = MPU_INSTRUCTION_ACCESS_ENABLE;
  MPU_InitStruct.IsShareable = MPU_ACCESS_SHAREABLE;
  MPU_InitStruct.IsCacheable = MPU_ACCESS_CACHEABLE;
  MPU_InitStruct.IsBufferable = MPU_ACCESS_NOT_BUFFERABLE;

  HAL_MPU_ConfigRegion(&MPU_InitStruct);

  /** Initializes and configures the Region and the memory to be protected
  */
  MPU_InitStruct.Number = MPU_REGION_NUMBER1;
  MPU_InitStruct.BaseAddress = 0x08000000;
  MPU_InitStruct.Size = MPU_REGION_SIZE_2MB;
  MPU_InitStruct.IsShareable = MPU_ACCESS_NOT_SHAREABLE;

  HAL_MPU_ConfigRegion(&MPU_InitStruct);

  /** Initializes and configures the Region and the memory to be protected
  */
  MPU_InitStruct.Number = MPU_REGION_NUMBER2;
  MPU_InitStruct.BaseAddress = 0x60000000;
  MPU_InitStruct.Size = MPU_REGION_SIZE_512MB;
  MPU_InitStruct.IsShareable = MPU_ACCESS_SHAREABLE;

  HAL_MPU_ConfigRegion(&MPU_InitStruct);
  /* Enables the MPU */
  HAL_MPU_Enable(MPU_PRIVILEGED_DEFAULT);

}

void Error_Handler(void)
{
  __disable_irq();
  while (1)
  {
  }
}
